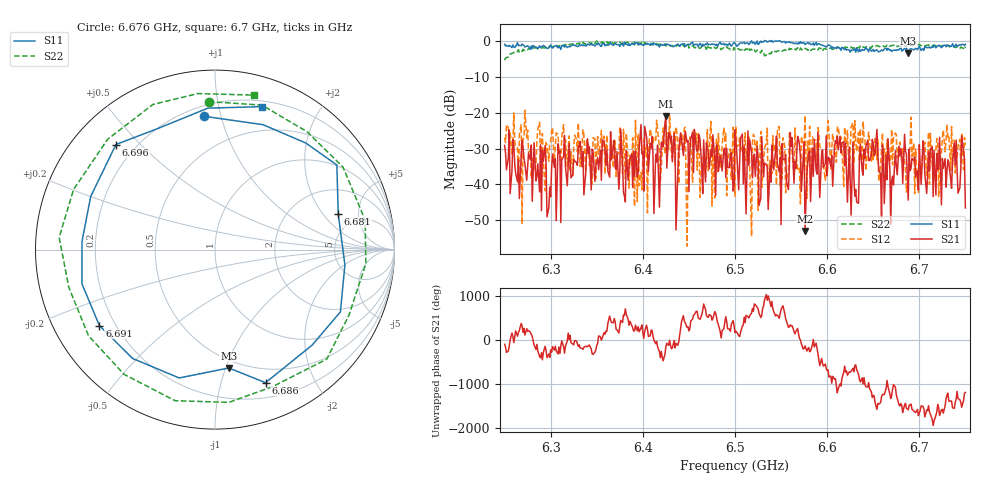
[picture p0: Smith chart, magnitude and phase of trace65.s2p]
# Hz S RI R 50
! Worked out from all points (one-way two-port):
!   401 points, 6.25 GHz to 6.75 GHz, reference 50 ohm
!   highest |S21| = -21.01 dB at 6.425 GHz (marker M1); lowest = -52.9 dB at 6.576 GHz (marker M2)
!   lowest |S11| = -3.6 dB at 6.688 GHz (marker M3), VSWR 4.95, Z = 21.7 - j51.2 ohm
!   |S11| at or under -10 dB: nowhere
!   |S22| runs from -5.5 to -0.1 dB; largest |S21 - S12| = 0.13
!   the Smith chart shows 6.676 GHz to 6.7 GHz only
!   S11 on the Smith chart (normalised r, x): 6.676 GHz: 0.26, +0.88; 6.681 GHz: 3.56, +2.88; 6.686 GHz: 0.35, -1.39; 6.691 GHz: 0.14, -0.29; 6.696 GHz: 0.13, +0.43; 6.7 GHz: 0.25, +1.35
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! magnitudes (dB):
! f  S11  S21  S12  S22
! 6.25 GHz  -1.0  -29.1  -27.0  -5.5
! 6.299 GHz  -1.6  -40.7  -28.6  -1.6
! 6.334 GHz  -1.2  -35.1  -29.6  -1.0
! 6.396 GHz  -1.0  -30.1  -40.3  -0.6
! 6.418 GHz  -1.8  -46.3  -29.6  -1.1
! 6.425 GHz  -1.0  -21.0  -29.9  -1.5
! 6.435 GHz  -1.4  -30.4  -34.5  -1.6
! 6.5 GHz  -0.8  -24.8  -43.3  -2.5
! 6.576 GHz  -1.1  -52.9  -20.8  -2.2
! 6.584 GHz  -1.0  -29.9  -26.8  -2.4
! 6.611 GHz  -1.7  -26.6  -24.2  -1.9
! 6.631 GHz  -3.2  -41.4  -27.7  -1.9
! 6.651 GHz  -3.0  -32.0  -28.5  -1.5
! 6.668 GHz  -2.7  -35.6  -33.8  -1.6
! 6.676 GHz  -2.6  -37.3  -32.6  -1.7
! 6.681 GHz  -2.9  -31.8  -34.0  -1.4
! 6.686 GHz  -2.0  -31.4  -42.1  -1.6
! 6.688 GHz  -3.6  -44.3  -38.1  -1.4
! 6.691 GHz  -2.3  -35.6  -21.3  -1.4
! 6.696 GHz  -1.9  -37.9  -30.1  -1.3
! 6.7 GHz  -1.5  -28.9  -33.9  -1.0
! 6.75 GHz  -1.0  -46.5  -29.0  -1.7
